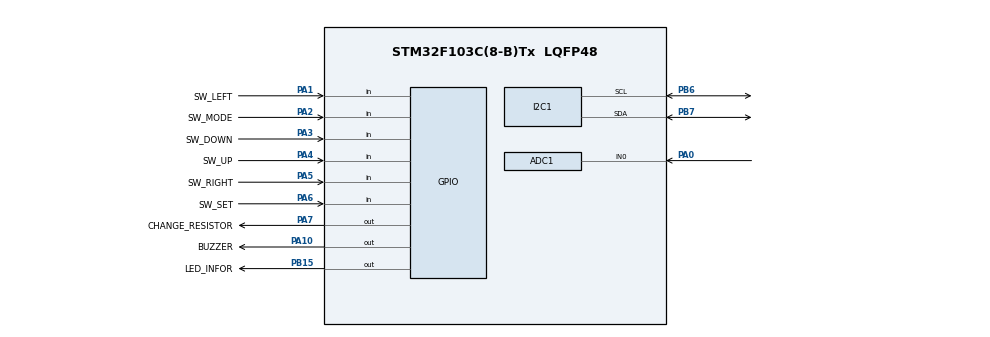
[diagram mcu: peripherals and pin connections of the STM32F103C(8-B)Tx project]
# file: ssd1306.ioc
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ADC1.Channel-0\#ChannelRegularConversion=ADC_CHANNEL_0
ADC1.NbrOfConversionFlag=1
ADC1.Rank-0\#ChannelRegularConversion=1
ADC1.SamplingTime-0\#ChannelRegularConversion=ADC_SAMPLETIME_239CYCLES_5
ADC1.master=1
I2C1.I2C_Mode=I2C_Fast
Mcu.Family=STM32F1
Mcu.Name=STM32F103C(8-B)Tx
Mcu.Package=LQFP48
NVIC.PriorityGroup=NVIC_PRIORITYGROUP_4
PA0-WKUP.Signal=ADCx_IN0
PA1.GPIO_Label=SW_LEFT
PA1.GPIO_PuPd=GPIO_PULLUP
PA1.Signal=GPIO_Input
PA10.GPIO_Label=BUZZER
PA10.Signal=GPIO_Output
PA13.Mode=Serial_Wire
PA13.Signal=SYS_JTMS-SWDIO
PA14.Mode=Serial_Wire
PA14.Signal=SYS_JTCK-SWCLK
PA2.GPIO_Label=SW_MODE
PA2.GPIO_PuPd=GPIO_PULLUP
PA2.Signal=GPIO_Input
PA3.GPIO_Label=SW_DOWN
PA3.GPIO_PuPd=GPIO_PULLUP
PA3.Signal=GPIO_Input
PA4.GPIO_Label=SW_UP
PA4.GPIO_PuPd=GPIO_PULLUP
PA4.Signal=GPIO_Input
PA5.GPIO_Label=SW_RIGHT
PA5.GPIO_PuPd=GPIO_PULLUP
PA5.Signal=GPIO_Input
PA6.GPIO_Label=SW_SET
PA6.GPIO_PuPd=GPIO_PULLUP
PA6.Signal=GPIO_Input
PA7.GPIO_Label=CHANGE_RESISTOR
PA7.Signal=GPIO_Output
PB15.GPIO_Label=LED_INFOR
PB15.Signal=GPIO_Output
PB6.Mode=I2C
PB6.Signal=I2C1_SCL
PB7.Mode=I2C
PB7.Signal=I2C1_SDA
PD0-OSC_IN.Mode=HSE-External-Oscillator
PD0-OSC_IN.Signal=RCC_OSC_IN
PD1-OSC_OUT.Mode=HSE-External-Oscillator
PD1-OSC_OUT.Signal=RCC_OSC_OUT
ProjectManager.HeapSize=0x200
ProjectManager.StackSize=0x400
ProjectManager.TargetToolchain=STM32CubeIDE
RCC.APB1Freq_Value=8000000
RCC.APB2Freq_Value=8000000
SH.ADCx_IN0.0=ADC1_IN0,IN0
board=custom

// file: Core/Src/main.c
/* USER CODE BEGIN Header */
/**
 ******************************************************************************
 * @file           : main.c
 * @brief          : Main program body
 ******************************************************************************
 * @attention
 *
 * Copyright (c) 2023 STMicroelectronics.
 * All rights reserved.
 *
 * This software is licensed under terms that can be found in the LICENSE file
 * in the root directory of this software component.
 * If no LICENSE file comes with this software, it is provided AS-IS.
 *
 ******************************************************************************
 */
/* USER CODE END Header */
#include "main.h"

/* USER CODE BEGIN Includes */
#include "ssd1306.h"
#include "fonts.h"
#include "button_detect.h"
#include "stdio.h"
/* USER CODE END Includes */

/* USER CODE BEGIN PTD */
typedef enum
{
  STATE_START = 0,
  STATE_MEASURE,
  STATE_THRESHOLD,
  STATE_1_MEASURE,
  STATE_1_THRESHOLD,
  STATE_2_MEASURE,
  STATE_2_THRESHOLD
} state_machine_t;
/* USER CODE END PTD */

/* USER CODE BEGIN PD */
#define CHANGE_RESISTOR_1000  1
#define CHANGE_RESISTOR_100   0
/* USER CODE END PD */

ADC_HandleTypeDef hadc1;

I2C_HandleTypeDef hi2c1;

/* USER CODE BEGIN PV */
static uint8_t rows[3] = {0, 20, 40};
static uint8_t menu = 0;

// state
static volatile state_button_t state_button = state_null;
static state_machine_t state_machine = STATE_START;

// string
static uint8_t string[10];

// value lux
static volatile uint16_t value = 1000;
static int8_t value_threshold[4] = {0, 0, 0, 0};
static uint16_t value_threshold_setting;

// digit position
static int8_t digit_position = 0;
static uint8_t digit_position_display[4] = {75, 82, 89, 96};

// flag
static uint8_t state_no_null;
static uint8_t change_state_null = 1;
static uint8_t flag_screen = 1;
static uint8_t flag_enable_threshold = 0;

// votage_adc
float votage = 0;

/* USER CODE END PV */

void SystemClock_Config(void);
static void MX_GPIO_Init(void);
static void MX_I2C1_Init(void);
static void MX_ADC1_Init(void);

/* USER CODE BEGIN 0 */

void menu_pointer(uint8_t pointer)
{
  if (pointer == 1)
  {
    SSD1306_GotoXY(0, rows[1]);
    SSD1306_Puts(">", &Font_7x10, 1);
    SSD1306_GotoXY(0, rows[2]);
    SSD1306_Puts(" ", &Font_7x10, 1);
    SSD1306_UpdateScreen();
  }
  else
  {
    SSD1306_GotoXY(0, rows[1]);
    SSD1306_Puts(" ", &Font_7x10, 1);
    SSD1306_GotoXY(0, rows[2]);
    SSD1306_Puts(">", &Font_7x10, 1);
    SSD1306_UpdateScreen();
  }
}

void DISPLAY_Init(void)
{
  SSD1306_GotoXY(0, 0);
  SSD1306_Puts("STARTING...", &Font_11x18, 1);
  SSD1306_UpdateScreen();
  HAL_Delay(1000);
}

void DISPLAY_Start(void)
{
  SSD1306_GotoXY(20, 0);
  SSD1306_Puts("SECLECT MODE", &Font_7x10, 1);
  SSD1306_GotoXY(0, 20);
  SSD1306_Puts(">", &Font_7x10, 1);
  SSD1306_GotoXY(10, 20);
  SSD1306_Puts("1.MEASURE", &Font_7x10, 1);
  SSD1306_GotoXY(10, 40);
  SSD1306_Puts("2.THRESHOLD", &Font_7x10, 1);
  SSD1306_UpdateScreen();
}

void DISPLAY_SELECT_Range(void)
{
  SSD1306_GotoXY(20, 0);
  SSD1306_Puts("SELECT RANGE", &Font_7x10, 1);
  SSD1306_GotoXY(0, 20);
  SSD1306_Puts(">", &Font_7x10, 1);
  SSD1306_GotoXY(10, 20);
  SSD1306_Puts("1.RANGE1:10-100", &Font_7x10, 1);
  SSD1306_GotoXY(10, 40);
  SSD1306_Puts("2.RANGE2:10-1000", &Font_7x10, 1);
  SSD1306_UpdateScreen();
}

void STATE_BUTTON_Handle(void)
{
  if (state_button == state_null)
  {
    if (state_no_null == 1)
    {
      change_state_null = 1;
      state_no_null = 0;
    }
  }
  else
  {
    state_no_null = 1;
  }
}

void TASK_Handle(void)
{
  switch (state_machine)
  {
  case STATE_START:
    if (flag_screen == 1)
    {
    	HAL_GPIO_WritePin(BUZZER_GPIO_Port, BUZZER_Pin, 0);
      SSD1306_Clear();
      DISPLAY_Start();
      flag_screen = 0;
      menu = 1;
    }
    if ((state_button == state_mode) && (change_state_null == 1))
    {
      menu = menu + 1;
      if (menu == 3)	 menu = 1;
      menu_pointer(menu);
      change_state_null = 0;
    }

    if ((state_button == state_set) && (change_state_null == 1))
    {
      if (menu == 1)
      {
        state_machine = STATE_MEASURE;
      }
      else
      {
        state_machine = STATE_THRESHOLD;
      }
      flag_screen = 1;
      change_state_null = 0;
    }

    break;

  case STATE_MEASURE:
    if (flag_screen == 1)
    {
    	HAL_GPIO_WritePin(LED_INFOR_GPIO_Port, LED_INFOR_Pin, 1);
      SSD1306_Clear();
      DISPLAY_SELECT_Range();
      flag_screen = 0;
      menu = 1;
    }

    if ((state_button == state_mode) && (change_state_null == 1))
    {
      menu = menu + 1;
      if (menu == 3)	 menu = 1;
      menu_pointer(menu);
      change_state_null = 0;
    }

    if ((state_button == state_set) && (change_state_null == 1))
    {
      if (menu == 1)
      {
        HAL_GPIO_WritePin(CHANGE_RESISTOR_GPIO_Port, CHANGE_RESISTOR_Pin, CHANGE_RESISTOR_100);
        state_machine = STATE_1_MEASURE;
      }
      else
      {
        HAL_GPIO_WritePin(CHANGE_RESISTOR_GPIO_Port, CHANGE_RESISTOR_Pin, CHANGE_RESISTOR_1000);
        state_machine = STATE_2_MEASURE;
      }

      flag_screen = 1;
      change_state_null = 0;
    }
    break;

  case STATE_THRESHOLD:
    if (flag_screen == 1)
    {
    	HAL_GPIO_WritePin(LED_INFOR_GPIO_Port, LED_INFOR_Pin, 1);
      SSD1306_Clear();
      DISPLAY_SELECT_Range();
      flag_screen = 0;
      menu = 1;
    }

    if ((state_button == state_mode) && (change_state_null == 1))
    {
      menu = menu + 1;
      if (menu == 3)	 menu = 1;
      menu_pointer(menu);
      change_state_null = 0;
    }

    if ((state_button == state_set) && (change_state_null == 1))
    {
      if (menu == 1)
      {
        HAL_GPIO_WritePin(CHANGE_RESISTOR_GPIO_Port, CHANGE_RESISTOR_Pin, CHANGE_RESISTOR_100);
        state_machine = STATE_1_THRESHOLD;
      }
      else
      {
        HAL_GPIO_WritePin(CHANGE_RESISTOR_GPIO_Port, CHANGE_RESISTOR_Pin, CHANGE_RESISTOR_1000);
        state_machine = STATE_2_THRESHOLD;
      }

      flag_screen = 1;
      change_state_null = 0;
    }
    break;
  case STATE_1_MEASURE:
    if (flag_screen == 1)
    {
    	HAL_GPIO_WritePin(LED_INFOR_GPIO_Port, LED_INFOR_Pin, 1);
      SSD1306_Clear();
      SSD1306_GotoXY(20, 0);
      SSD1306_Puts("EV:10-100", &Font_7x10, 1);
      flag_screen = 0;
    }

    sprintf((char *)string, "%d Lux    ", value);
    SSD1306_GotoXY(40, 20);
    SSD1306_Puts((char *)string, &Font_7x10, 1);
    if ((state_button == state_mode) && (change_state_null == 1))
    {
      flag_screen = 1;
      state_machine = STATE_START;
      change_state_null = 0;
    }
    SSD1306_UpdateScreen();

    break;

  case STATE_2_MEASURE:
    if (flag_screen == 1)
    {
    	HAL_GPIO_WritePin(LED_INFOR_GPIO_Port, LED_INFOR_Pin, 1);
      SSD1306_Clear();
      SSD1306_GotoXY(20, 0);
      SSD1306_Puts("EV:10-1000", &Font_7x10, 1);
      flag_screen = 0;
    }

    sprintf((char *)string, "%d Lux   ", value);
    SSD1306_GotoXY(40, 20);
    SSD1306_Puts((char *)string, &Font_7x10, 1);
    if ((state_button == state_mode) && (change_state_null == 1))
    {
      flag_screen = 1;
      state_machine = STATE_START;
      change_state_null = 0;
    }
    SSD1306_UpdateScreen();
    break;

  case STATE_1_THRESHOLD:
    if (flag_screen == 1)
    {
      digit_position = 0;
      SSD1306_Clear();
      SSD1306_GotoXY(20, 0);
      SSD1306_Puts("EV:10-100", &Font_7x10, 1);
      SSD1306_GotoXY(0, 20);
      SSD1306_Puts("SET VALUE:", &Font_7x10, 1);
      SSD1306_GotoXY(digit_position_display[digit_position], 30);
      SSD1306_Puts("^", &Font_7x10, 1);
      flag_screen = 0;
      flag_enable_threshold = 0;
    }

    if ((state_button == state_left) && (change_state_null == 1))
    {
      SSD1306_GotoXY(digit_position_display[digit_position], 30);
      SSD1306_Puts(" ", &Font_7x10, 1);
      digit_position = digit_position - 1;
      if (digit_position == -1)
      {
        digit_position = 2;
      }
      SSD1306_GotoXY(digit_position_display[digit_position], 30);
      SSD1306_Puts("^", &Font_7x10, 1);
      change_state_null = 0;
    }

    if ((state_button == state_right) && (change_state_null == 1))
    {
      SSD1306_GotoXY(digit_position_display[digit_position], 30);
      SSD1306_Puts(" ", &Font_7x10, 1);
      digit_position = digit_position + 1;
      if (digit_position == 3)
      {
        digit_position = 0;
      }
      SSD1306_GotoXY(digit_position_display[digit_position], 30);
      SSD1306_Puts("^", &Font_7x10, 1);
      change_state_null = 0;
    }

    if ((state_button == state_up) && (change_state_null == 1))
    {
      value_threshold[digit_position] = value_threshold[digit_position] + 1;
      if (value_threshold[digit_position] == 10)
      {
        value_threshold[digit_position] = 0;
      }

      change_state_null = 0;
    }

    if ((state_button == state_down) && (change_state_null == 1))
    {
      value_threshold[digit_position] = value_threshold[digit_position] - 1;
      if (value_threshold[digit_position] == -1)
      {
        value_threshold[digit_position] = 9;
      }
      change_state_null = 0;
    }
    sprintf((char *)string, "%d%d%d", value_threshold[0], value_threshold[1], value_threshold[2]);
    SSD1306_GotoXY(75, 20);
    SSD1306_Puts((char *)string, &Font_7x10, 1);

    if ((state_button == state_mode) && (change_state_null == 1))
    {
      flag_screen = 1;
      state_machine = STATE_START;
      change_state_null = 0;
    }

    if ((state_button == state_set) && (change_state_null == 1))
    {
      SSD1306_GotoXY(digit_position_display[digit_position], 30);
      SSD1306_Puts(" ", &Font_7x10, 1);
      value_threshold_setting = value_threshold[0] * 100 +  value_threshold[1] * 10 + value_threshold[2];
      flag_enable_threshold = 1;
      change_state_null = 0;
    }

    if(flag_enable_threshold == 1)
    {
      if(value_threshold_setting <= value)
      {
        HAL_GPIO_WritePin(LED_INFOR_GPIO_Port, LED_INFOR_Pin, 0);
        HAL_GPIO_WritePin(BUZZER_GPIO_Port, BUZZER_Pin, 1);
      }
      else
      {
        HAL_GPIO_WritePin(LED_INFOR_GPIO_Port, LED_INFOR_Pin, 1);
        HAL_GPIO_WritePin(BUZZER_GPIO_Port, BUZZER_Pin, 0);
      }
    }
    SSD1306_UpdateScreen();
    break;

  case STATE_2_THRESHOLD:
    if (flag_screen == 1)
    {
      digit_position = 0;
      SSD1306_Clear();
      SSD1306_GotoXY(20, 0);
      SSD1306_Puts("EV:10-1000", &Font_7x10, 1);
      SSD1306_GotoXY(0, 20);
      SSD1306_Puts("SET VALUE:", &Font_7x10, 1);
      SSD1306_GotoXY(digit_position_display[digit_position], 30);
      SSD1306_Puts("^", &Font_7x10, 1);
      flag_screen = 0;
      flag_enable_threshold = 0;
      value_threshold_setting = 0;
    }

    if ((state_button == state_left) && (change_state_null == 1))
    {
      SSD1306_GotoXY(digit_position_display[digit_position], 30);
      SSD1306_Puts(" ", &Font_7x10, 1);
      digit_position = digit_position - 1;
      if (digit_position == -1)
      {
        digit_position = 3;
      }
      SSD1306_GotoXY(digit_position_display[digit_position], 30);
      SSD1306_Puts("^", &Font_7x10, 1);
      change_state_null = 0;
    }

    if ((state_button == state_right) && (change_state_null == 1))
    {
      SSD1306_GotoXY(digit_position_display[digit_position], 30);
      SSD1306_Puts(" ", &Font_7x10, 1);
      digit_position = digit_position + 1;
      if (digit_position == 4)
      {
        digit_position = 0;
      }
      SSD1306_GotoXY(digit_position_display[digit_position], 30);
      SSD1306_Puts("^", &Font_7x10, 1);
      change_state_null = 0;
    }

    if ((state_button == state_up) && (change_state_null == 1))
    {
      value_threshold[digit_position] = value_threshold[digit_position] + 1;
      if (value_threshold[digit_position] == 10)
      {
        value_threshold[digit_position] = 0;
      }

      change_state_null = 0;
    }

    if ((state_button == state_down) && (change_state_null == 1))
    {
      value_threshold[digit_position] = value_threshold[digit_position] - 1;
      if (value_threshold[digit_position] == -1)
      {
        value_threshold[digit_position] = 9;
      }
      change_state_null = 0;
    }

    sprintf((char *)string, "%d%d%d%d", value_threshold[0], value_threshold[1], value_threshold[2], value_threshold[3]);
    SSD1306_GotoXY(75, 20);
    SSD1306_Puts((char *)string, &Font_7x10, 1);

    if ((state_button == state_mode) && (change_state_null == 1))
    {
      flag_screen = 1;
      state_machine = STATE_START;
      change_state_null = 0;
    }

    if ((state_button == state_set) && (change_state_null == 1))
    {
      SSD1306_GotoXY(digit_position_display[digit_position], 30);
      SSD1306_Puts(" ", &Font_7x10, 1);
      value_threshold_setting = value_threshold[0] * 1000 +  value_threshold[1] * 100 + value_threshold[2] * 10 + value_threshold[3];
      flag_enable_threshold = 1;
      change_state_null = 0;
    }

    if(flag_enable_threshold == 1)
    {
      if(value_threshold_setting <= value)
      {
        HAL_GPIO_WritePin(LED_INFOR_GPIO_Port, LED_INFOR_Pin, 0);
        HAL_GPIO_WritePin(BUZZER_GPIO_Port, BUZZER_Pin, 1);
      }
      else
      {
        HAL_GPIO_WritePin(LED_INFOR_GPIO_Port, LED_INFOR_Pin, 1);
        HAL_GPIO_WritePin(BUZZER_GPIO_Port, BUZZER_Pin, 0);
      }
    }
    SSD1306_UpdateScreen();
    break;
  default:
    break;
  }
}

/* USER CODE END 0 */

int main(void)
{

  /* MCU Configuration--------------------------------------------------------*/

  /* Reset of all peripherals, Initializes the Flash interface and the Systick. */
  HAL_Init();

  /* Configure the system clock */
  SystemClock_Config();

  /* Initialize all configured peripherals */
  MX_GPIO_Init();
  MX_I2C1_Init();
  MX_ADC1_Init();
  /* USER CODE BEGIN 2 */
  SSD1306_Init();
  DISPLAY_Init();
  /* USER CODE END 2 */
uint32_t timer = 0;
HAL_GPIO_WritePin(LED_INFOR_GPIO_Port, LED_INFOR_Pin, 1);
  /* Infinite loop */
  while (1)
  {

    /* USER CODE BEGIN 3 */
     state_button = button_detect();
     STATE_BUTTON_Handle();
     TASK_Handle();

     if(HAL_GetTick() - timer > 500)
     {
    	 HAL_ADC_Start(&hadc1);
    	 HAL_ADC_PollForConversion(&hadc1, HAL_MAX_DELAY);
		if((state_machine == STATE_1_MEASURE) || (state_machine == STATE_1_THRESHOLD))
		{
			votage = (float)(HAL_ADC_GetValue(&hadc1)) * 2.2 / 4096;
			HAL_ADC_Stop(&hadc1);

			value = (uint16_t)((22.3 - (votage * 10)) / 0.0498);
			if(value > 100) value = 100;
			if(value < 10)  value = 10;
		}
		if((state_machine == STATE_2_MEASURE) || (state_machine == STATE_2_THRESHOLD))
		{
			votage = (float)(HAL_ADC_GetValue(&hadc1)) * 0.9 / 4096;
			HAL_ADC_Stop(&hadc1);
			value = (uint16_t)((4.7 - (votage*10)) / 0.00102);

			// round
			uint8_t DV = value % 10;
			if (DV >= 5) value = value + (10 - DV);
			else         value = value - DV;
			if(value > 1000) value = 1000;
			if(value < 10)  value = 10;
		}
		timer = HAL_GetTick();
     }
  }
  /* USER CODE END 3 */
}

void SystemClock_Config(void)
{
  RCC_OscInitTypeDef RCC_OscInitStruct = {0};
  RCC_ClkInitTypeDef RCC_ClkInitStruct = {0};
  RCC_PeriphCLKInitTypeDef PeriphClkInit = {0};

  /** Initializes the RCC Oscillators according to the specified parameters
  * in the RCC_OscInitTypeDef structure.
  */
  RCC_OscInitStruct.OscillatorType = RCC_OSCILLATORTYPE_HSI;
  RCC_OscInitStruct.HSIState = RCC_HSI_ON;
  RCC_OscInitStruct.HSICalibrationValue = RCC_HSICALIBRATION_DEFAULT;
  RCC_OscInitStruct.PLL.PLLState = RCC_PLL_NONE;
  if (HAL_RCC_OscConfig(&RCC_OscInitStruct) != HAL_OK)
  {
    Error_Handler();
  }

  /** Initializes the CPU, AHB and APB buses clocks
  */
  RCC_ClkInitStruct.ClockType = RCC_CLOCKTYPE_HCLK|RCC_CLOCKTYPE_SYSCLK
                              |RCC_CLOCKTYPE_PCLK1|RCC_CLOCKTYPE_PCLK2;
  RCC_ClkInitStruct.SYSCLKSource = RCC_SYSCLKSOURCE_HSI;
  RCC_ClkInitStruct.AHBCLKDivider = RCC_SYSCLK_DIV1;
  RCC_ClkInitStruct.APB1CLKDivider = RCC_HCLK_DIV1;
  RCC_ClkInitStruct.APB2CLKDivider = RCC_HCLK_DIV1;

  if (HAL_RCC_ClockConfig(&RCC_ClkInitStruct, FLASH_LATENCY_0) != HAL_OK)
  {
    Error_Handler();
  }
  PeriphClkInit.PeriphClockSelection = RCC_PERIPHCLK_ADC;
  PeriphClkInit.AdcClockSelection = RCC_ADCPCLK2_DIV2;
  if (HAL_RCCEx_PeriphCLKConfig(&PeriphClkInit) != HAL_OK)
  {
    Error_Handler();
  }
}

static void MX_ADC1_Init(void)
{

  ADC_ChannelConfTypeDef sConfig = {0};

  /** Common config
  */
  hadc1.Instance = ADC1;
  hadc1.Init.ScanConvMode = ADC_SCAN_DISABLE;
  hadc1.Init.ContinuousConvMode = DISABLE;
  hadc1.Init.DiscontinuousConvMode = DISABLE;
  hadc1.Init.ExternalTrigConv = ADC_SOFTWARE_START;
  hadc1.Init.DataAlign = ADC_DATAALIGN_RIGHT;
  hadc1.Init.NbrOfConversion = 1;
  if (HAL_ADC_Init(&hadc1) != HAL_OK)
  {
    Error_Handler();
  }

  /** Configure Regular Channel
  */
  sConfig.Channel = ADC_CHANNEL_0;
  sConfig.Rank = ADC_REGULAR_RANK_1;
  sConfig.SamplingTime = ADC_SAMPLETIME_239CYCLES_5;
  if (HAL_ADC_ConfigChannel(&hadc1, &sConfig) != HAL_OK)
  {
    Error_Handler();
  }

}

static void MX_I2C1_Init(void)
{

  hi2c1.Instance = I2C1;
  hi2c1.Init.ClockSpeed = 400000;
  hi2c1.Init.DutyCycle = I2C_DUTYCYCLE_2;
  hi2c1.Init.OwnAddress1 = 0;
  hi2c1.Init.AddressingMode = I2C_ADDRESSINGMODE_7BIT;
  hi2c1.Init.DualAddressMode = I2C_DUALADDRESS_DISABLE;
  hi2c1.Init.OwnAddress2 = 0;
  hi2c1.Init.GeneralCallMode = I2C_GENERALCALL_DISABLE;
  hi2c1.Init.NoStretchMode = I2C_NOSTRETCH_DISABLE;
  if (HAL_I2C_Init(&hi2c1) != HAL_OK)
  {
    Error_Handler();
  }

}

static void MX_GPIO_Init(void)
{
  GPIO_InitTypeDef GPIO_InitStruct = {0};

  /* GPIO Ports Clock Enable */
  __HAL_RCC_GPIOD_CLK_ENABLE();
  __HAL_RCC_GPIOA_CLK_ENABLE();
  __HAL_RCC_GPIOB_CLK_ENABLE();

  /*Configure GPIO pin Output Level */
  HAL_GPIO_WritePin(GPIOA, CHANGE_RESISTOR_Pin|BUZZER_Pin, GPIO_PIN_RESET);

  /*Configure GPIO pin Output Level */
  HAL_GPIO_WritePin(LED_INFOR_GPIO_Port, LED_INFOR_Pin, GPIO_PIN_RESET);

  /*Configure GPIO pins : SW_LEFT_Pin SW_MODE_Pin SW_DOWN_Pin SW_UP_Pin
                           SW_RIGHT_Pin SW_SET_Pin */
  GPIO_InitStruct.Pin = SW_LEFT_Pin|SW_MODE_Pin|SW_DOWN_Pin|SW_UP_Pin
                          |SW_RIGHT_Pin|SW_SET_Pin;
  GPIO_InitStruct.Mode = GPIO_MODE_INPUT;
  GPIO_InitStruct.Pull = GPIO_PULLUP;
  HAL_GPIO_Init(GPIOA, &GPIO_InitStruct);

  /*Configure GPIO pins : CHANGE_RESISTOR_Pin BUZZER_Pin */
  GPIO_InitStruct.Pin = CHANGE_RESISTOR_Pin|BUZZER_Pin;
  GPIO_InitStruct.Mode = GPIO_MODE_OUTPUT_PP;
  GPIO_InitStruct.Pull = GPIO_NOPULL;
  GPIO_InitStruct.Speed = GPIO_SPEED_FREQ_LOW;
  HAL_GPIO_Init(GPIOA, &GPIO_InitStruct);

  /*Configure GPIO pin : LED_INFOR_Pin */
  GPIO_InitStruct.Pin = LED_INFOR_Pin;
  GPIO_InitStruct.Mode = GPIO_MODE_OUTPUT_PP;
  GPIO_InitStruct.Pull = GPIO_NOPULL;
  GPIO_InitStruct.Speed = GPIO_SPEED_FREQ_LOW;
  HAL_GPIO_Init(LED_INFOR_GPIO_Port, &GPIO_InitStruct);

}

void Error_Handler(void)
{
  __disable_irq();
  while (1)
  {
  }
}
